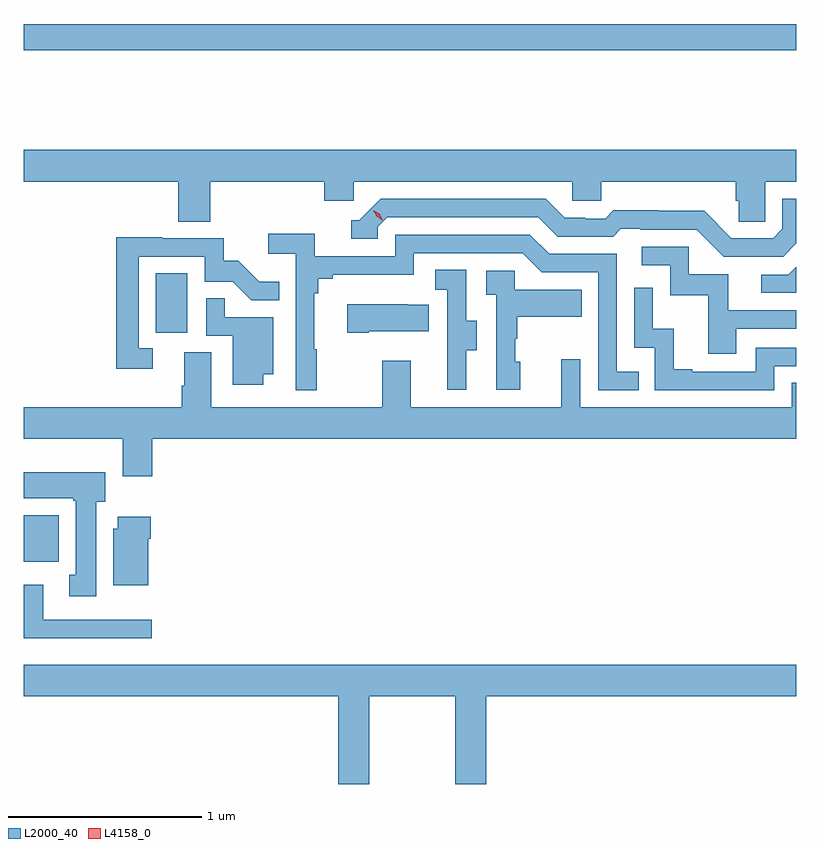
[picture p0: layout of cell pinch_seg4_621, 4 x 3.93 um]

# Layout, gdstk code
import gdstk
lib = gdstk.Library(unit=1e-6, precision=1e-09)
def R(c, l, rs):  # rectangles x0, y0, x1, y1
    for r in rs: c.add(gdstk.rectangle(r[:2], r[2:], *l))
def P(c, l, *ps):  # polygons
    for p in ps: c.add(gdstk.Polygon(p, *l))
L2000_40 = (2000, 40)
L4158_0 = (4158, 0)

pinch_seg4_621 = lib.new_cell('pinch_seg4_621')
R(pinch_seg4_621, L2000_40, [(1077.056,762.884,1077.238,763.126), (1077.74,764.07,1077.904,764.377), (1077.056,765.532,1081.056,765.668)])
P(pinch_seg4_621, L2000_40, [(1078.022,764.852),(1078.613,764.852),(1078.613,764.754),(1078.764,764.754),(1078.764,764.852),(1079.895,764.852),(1079.895,764.754),(1080.045,764.754),(1080.045,764.852),(1080.743,764.852),(1080.743,764.754),(1080.757,764.754),(1080.757,764.644),(1080.894,764.644),(1080.894,764.852),(1081.056,764.852),(1081.056,765.016),(1077.056,765.016),(1077.056,764.852),(1077.857,764.852),(1077.857,764.644),(1078.022,764.644)],
  [(1081.056,764.532),(1081.056,764.763),(1080.984,764.763),(1080.984,764.607),(1080.936,764.559),(1080.72,764.559),(1080.578,764.701),(1080.342,764.701),(1080.342,764.704),(1080.109,764.704),(1080.067,764.661),(1079.964,764.661),(1079.964,764.664),(1079.857,764.664),(1079.758,764.763),(1078.905,764.763),(1078.794,764.652),(1078.751,764.652),(1078.751,764.556),(1078.89,764.556),(1078.89,764.619),(1078.938,764.667),(1079.721,764.667),(1079.82,764.568),(1080.109,764.568),(1080.148,764.607),(1080.247,764.607),(1080.247,764.604),(1080.54,764.604),(1080.681,764.463),(1080.987,764.463)],
  [(1078.573,763.985),(1078.561,763.985),(1078.561,764.273),(1078.58,764.273),(1078.58,764.35),(1078.657,764.35),(1078.657,764.369),(1079.076,764.369),(1079.076,764.481),(1079.64,764.481),(1079.739,764.382),(1080.03,764.382),(1080.03,763.773),(1080.239,763.773),(1080.239,763.869),(1080.126,763.869),(1080.126,764.478),(1079.776,764.478),(1079.677,764.577),(1078.98,764.577),(1078.98,764.466),(1078.562,764.466),(1078.562,764.582),(1078.323,764.582),(1078.323,764.48),(1078.464,764.48),(1078.464,763.773),(1078.573,763.773)],
  [(1077.724,763.989),(1077.651,763.989),(1077.651,764.463),(1077.993,764.463),(1077.993,764.334),(1078.138,764.334),(1078.235,764.237),(1078.379,764.237),(1078.379,764.335),(1078.275,764.335),(1078.168,764.442),(1078.092,764.442),(1078.092,764.559),(1077.773,764.559),(1077.773,764.564),(1077.535,764.564),(1077.535,763.884),(1077.724,763.884)],
  [(1080.745,764.091),(1081.056,764.091),(1081.056,764.187),(1080.703,764.187),(1080.703,764.373),(1080.498,764.373),(1080.498,764.514),(1080.255,764.514),(1080.255,764.418),(1080.402,764.418),(1080.402,764.265),(1080.601,764.265),(1080.601,763.962),(1080.745,763.962)],
  [(1081.056,764.412),(1081.014,764.37),(1080.873,764.37),(1080.873,764.277),(1081.056,764.277)],
  [(1079.347,763.978),(1079.401,763.978),(1079.401,764.133),(1079.346,764.133),(1079.346,764.396),(1079.187,764.396),(1079.187,764.293),(1079.25,764.293),(1079.25,763.989),(1079.249,763.989),(1079.249,763.776),(1079.347,763.776)],
  [(1079.626,763.92),(1079.601,763.92),(1079.601,764.039),(1079.611,764.039),(1079.611,764.153),(1079.945,764.153),(1079.945,764.293),(1079.598,764.293),(1079.598,764.391),(1079.451,764.391),(1079.451,764.267),(1079.502,764.267),(1079.502,763.776),(1079.626,763.776)],
  [(1080.942,763.896),(1081.056,763.896),(1081.056,763.992),(1080.846,763.992),(1080.846,763.869),(1080.517,763.869),(1080.517,763.882),(1080.422,763.882),(1080.422,764.09),(1080.312,764.09),(1080.312,764.302),(1080.216,764.302),(1080.216,763.992),(1080.324,763.992),(1080.324,763.773),(1080.942,763.773)],
  [(1078.297,763.856),(1078.348,763.856),(1078.348,764.151),(1078.097,764.151),(1078.097,764.249),(1078.002,764.249),(1078.002,764.055),(1078.139,764.055),(1078.139,763.8),(1078.297,763.8)],
  [(1078.843,764.078),(1079.153,764.078),(1079.153,764.215),(1079.045,764.215),(1079.045,764.218),(1078.731,764.218),(1078.731,764.071),(1078.843,764.071)],
  [(1077.722,763.52),(1081.056,763.52),(1081.056,763.811),(1081.032,763.811),(1081.032,763.684),(1079.937,763.684),(1079.937,763.933),(1079.84,763.933),(1079.84,763.684),(1079.059,763.684),(1079.059,763.924),(1078.912,763.924),(1078.912,763.684),(1078.027,763.684),(1078.027,763.97),(1077.887,763.97),(1077.887,763.796),(1077.875,763.796),(1077.875,763.684),(1077.056,763.684),(1077.056,763.52),(1077.569,763.52),(1077.569,763.326),(1077.722,763.326)],
  [(1077.433,763.194),(1077.478,763.194),(1077.478,763.348),(1077.056,763.348),(1077.056,763.214),(1077.313,763.214),(1077.313,763.201),(1077.326,763.201),(1077.326,762.818),(1077.293,762.818),(1077.293,762.705),(1077.433,762.705)],
  [(1077.7,763.004),(1077.713,763.004),(1077.713,763.117),(1077.542,763.117),(1077.542,763.056),(1077.521,763.056),(1077.521,762.764),(1077.7,762.764)],
  [(1077.718,762.585),(1077.157,762.585),(1077.157,762.765),(1077.056,762.765),(1077.056,762.488),(1077.718,762.488)],
  [(1078.845,762.188),(1079.29,762.188),(1079.29,761.734),(1079.45,761.734),(1079.45,762.188),(1081.056,762.188),(1081.056,762.352),(1077.056,762.352),(1077.056,762.188),(1078.685,762.188),(1078.685,761.734),(1078.845,761.734)])
P(pinch_seg4_621, L4158_0, [(1078.913,764.652),(1078.883,764.672),(1078.867,764.705),(1078.867,764.705),(1078.867,764.705),(1078.898,764.686),(1078.914,764.653),(1078.914,764.652)])

lib.write_gds('pinch_seg4_621.gds')
